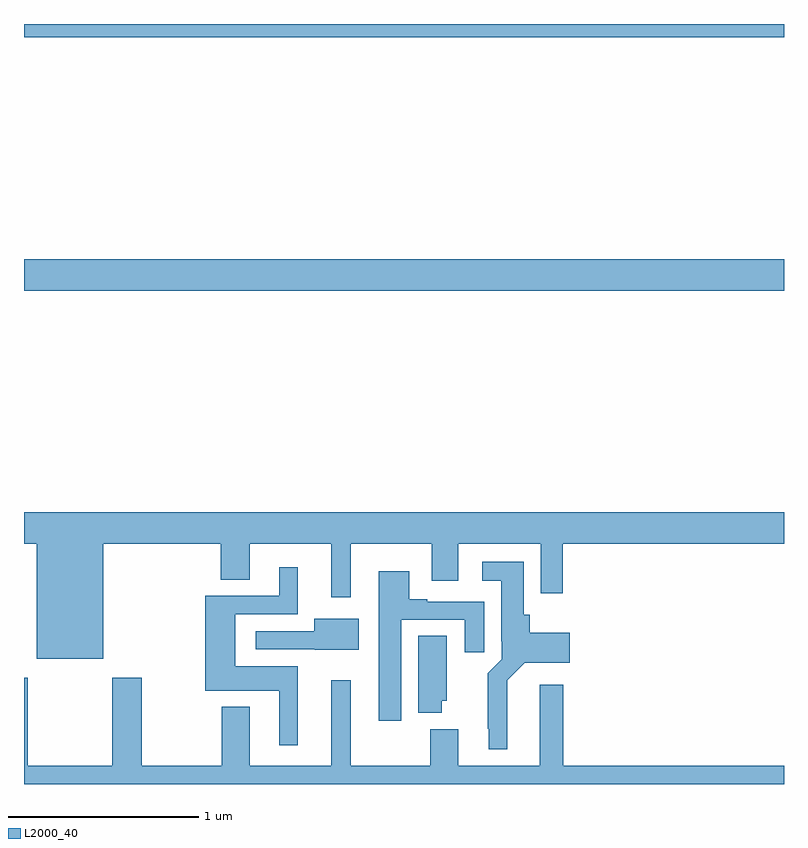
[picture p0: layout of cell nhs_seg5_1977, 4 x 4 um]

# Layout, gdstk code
import gdstk
lib = gdstk.Library(unit=1e-6, precision=1e-09)
def R(c, l, rs):  # rectangles x0, y0, x1, y1
    for r in rs: c.add(gdstk.rectangle(r[:2], r[2:], *l))
def P(c, l, *ps):  # polygons
    for p in ps: c.add(gdstk.Polygon(p, *l))
L2000_40 = (2000, 40)

nhs_seg5_1977 = lib.new_cell('nhs_seg5_1977')
R(nhs_seg5_1977, L2000_40, [(227,887.396,231,887.56), (227,888.728,231,888.799)])
P(nhs_seg5_1977, L2000_40, [(227.416,886.064),(228.035,886.064),(228.035,885.874),(228.187,885.874),(228.187,886.064),(228.617,886.064),(228.617,885.783),(228.721,885.783),(228.721,886.064),(229.145,886.064),(229.145,885.87),(229.285,885.87),(229.285,886.064),(229.719,886.064),(229.719,885.804),(229.835,885.804),(229.835,886.064),(231,886.064),(231,886.228),(227,886.228),(227,886.064),(227.066,886.064),(227.066,885.458),(227.416,885.458)],
  [(229.543,885.344),(229.635,885.437),(229.873,885.437),(229.873,885.595),(229.661,885.595),(229.661,885.69),(229.63,885.69),(229.63,885.97),(229.413,885.97),(229.413,885.869),(229.511,885.869),(229.511,885.55),(229.515,885.55),(229.515,885.456),(229.441,885.382),(229.441,885.091),(229.445,885.091),(229.445,884.981),(229.543,884.981)],
  [(228.442,885.418),(228.112,885.418),(228.112,885.693),(228.442,885.693),(228.442,885.94),(228.344,885.94),(228.344,885.789),(227.954,885.789),(227.954,885.29),(228.344,885.29),(228.344,885.003),(228.442,885.003)],
  [(228.985,885.663),(229.319,885.663),(229.319,885.492),(229.423,885.492),(229.423,885.759),(229.123,885.759),(229.123,885.772),(229.027,885.772),(229.027,885.919),(228.866,885.919),(228.866,885.132),(228.985,885.132)],
  [(228.763,885.67),(228.527,885.67),(228.527,885.603),(228.219,885.603),(228.219,885.507),(228.531,885.507),(228.531,885.506),(228.763,885.506)],
  [(229.198,885.237),(229.225,885.237),(229.225,885.578),(229.076,885.578),(229.076,885.173),(229.198,885.173)],
  [(231,884.896),(229.838,884.896),(229.838,885.322),(229.715,885.322),(229.715,884.896),(229.285,884.896),(229.285,885.088),(229.138,885.088),(229.138,884.896),(228.721,884.896),(228.721,885.346),(228.617,885.346),(228.617,884.896),(228.187,884.896),(228.187,885.205),(228.04,885.205),(228.04,884.896),(227.619,884.896),(227.619,885.358),(227.464,885.358),(227.464,884.896),(227.019,884.896),(227.019,885.358),(227,885.358),(227,884.799),(231,884.799)])

lib.write_gds('nhs_seg5_1977.gds')
